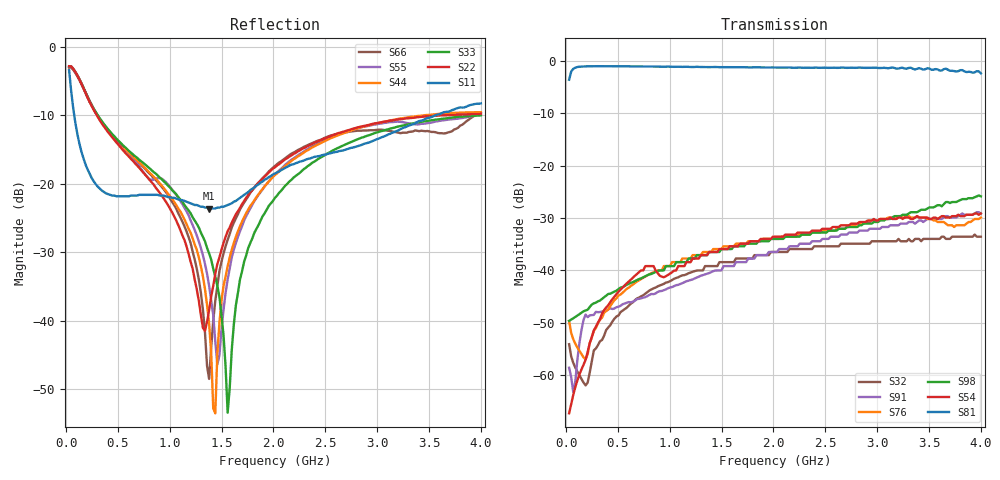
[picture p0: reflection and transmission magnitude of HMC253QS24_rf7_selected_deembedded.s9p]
!Hittite Microwave Corporation
!12 Elizabeth Drive
!Chelmsford, MA 01824
!Tel: 978-250-3343
!Fax: 978-250-3373
!Device: HMC253QS24, DC-2.5 GHz GaAS MMIC SP8T Non-Reflective Switch in 24-lead QSOP package
!Misc: Port 1 = RFCom, Port 2 = RF1, Port 3 = RF2, Port 4 = RF3, Port 5 = RF4, Port 6 = RF5, Port 7 = RF6, Port 8 = RF7, Port 9 = RF8, RF7 selected, Vdd=+5V
# MHZ S MA R 50
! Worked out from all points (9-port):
!   201 points, 30 MHz to 4 GHz, reference 50 ohm
!   strongest paths, dB at 30 MHz, 1.022 GHz, 2.015 GHz, 3.007 GHz, 4 GHz:
!     S81: -3.6, -1.1, -1.2, -1.3, -2.3
!     S54: -67.3, -40.4, -33.6, -30.5, -29.1
!     S98: -49.6, -39.2, -34.0, -30.8, -25.8
!     S76: -49.7, -38.4, -34.0, -30.5, -29.9
!     S91: -58.6, -43.2, -36.5, -32.0, -29.1
!     S32: -54.1, -41.8, -36.5, -34.4, -33.6
!   lowest |S11| = -23.6 dB at 1.38 GHz (marker M1), VSWR 1.14, Z = 56.2 - j3.29 ohm
!   |S11| at or under -10 dB: 79.37 MHz to 3.56 GHz (3.481 GHz wide, 191 % of centre)
